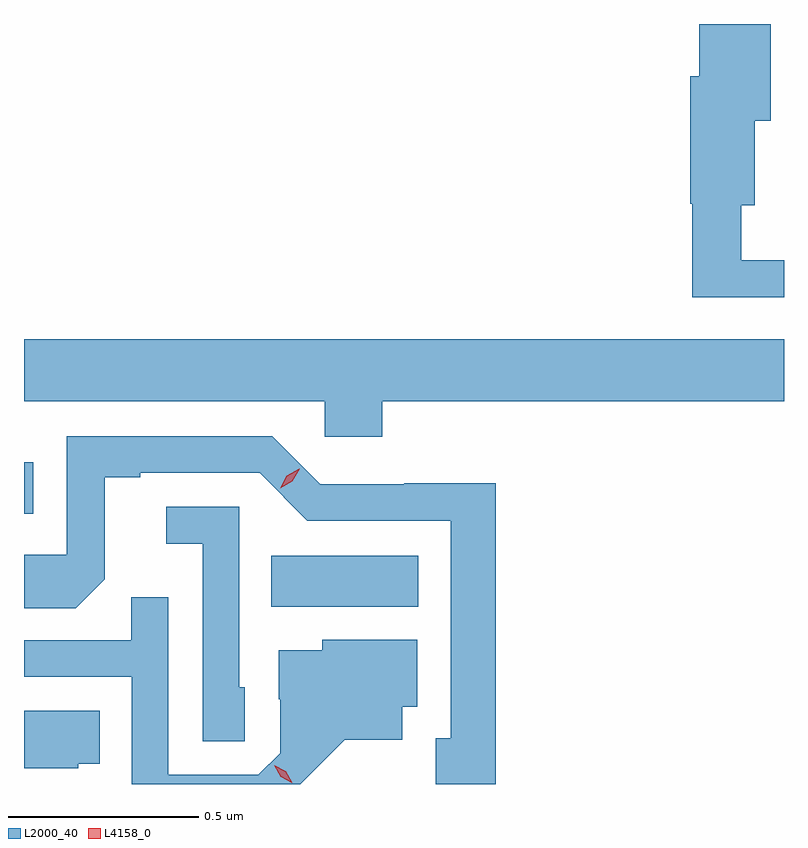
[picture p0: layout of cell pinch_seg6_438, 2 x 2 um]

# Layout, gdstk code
import gdstk
lib = gdstk.Library(unit=1e-6, precision=1e-09)
def R(c, l, rs):  # rectangles x0, y0, x1, y1
    for r in rs: c.add(gdstk.rectangle(r[:2], r[2:], *l))
def P(c, l, *ps):  # polygons
    for p in ps: c.add(gdstk.Polygon(p, *l))
L2000_40 = (2000, 40)
L4158_0 = (4158, 0)

pinch_seg6_438 = lib.new_cell('pinch_seg6_438')
R(pinch_seg6_438, L2000_40, [(700.804,933.476,701.191,933.61), (700.153,933.72,700.177,933.856)])
P(pinch_seg6_438, L2000_40, [(702.153,934.387),(702.04,934.387),(702.04,934.532),(702.076,934.532),(702.076,934.754),(702.118,934.754),(702.118,935.009),(701.93,935.009),(701.93,934.872),(701.906,934.872),(701.906,934.536),(701.911,934.536),(701.911,934.29),(702.153,934.29)],
  [(701.096,934.016),(702.153,934.016),(702.153,934.18),(700.153,934.18),(700.153,934.016),(700.944,934.016),(700.944,933.923),(701.096,933.923)],
  [(701.395,933.8),(701.154,933.8),(701.154,933.798),(700.932,933.798),(700.806,933.924),(700.266,933.924),(700.266,933.612),(700.153,933.612),(700.153,933.472),(700.289,933.472),(700.365,933.548),(700.365,933.816),(700.459,933.816),(700.459,933.828),(700.773,933.828),(700.899,933.702),(701.276,933.702),(701.276,933.129),(701.237,933.129),(701.237,933.009),(701.395,933.009)],
  [(700.734,933.264),(700.719,933.264),(700.719,933.738),(700.527,933.738),(700.527,933.641),(700.623,933.641),(700.623,933.121),(700.734,933.121)],
  [(700.894,933.023),(700.997,933.125),(701.149,933.125),(701.149,933.212),(701.188,933.212),(701.188,933.388),(700.938,933.388),(700.938,933.361),(700.823,933.361),(700.823,933.232),(700.827,933.232),(700.827,933.09),(700.77,933.033),(700.533,933.033),(700.533,933.5),(700.435,933.5),(700.435,933.387),(700.153,933.387),(700.153,933.291),(700.437,933.291),(700.437,933.009),(700.88,933.009)],
  [(700.296,933.062),(700.352,933.062),(700.352,933.202),(700.153,933.202),(700.153,933.05),(700.296,933.05)])
P(pinch_seg6_438, L4158_0, [(700.827,933.787),(700.827,933.787),(700.845,933.82),(700.877,933.838),(700.878,933.838),(700.878,933.838),(700.859,933.806),(700.827,933.787)],
  [(700.858,933.012),(700.828,933.028),(700.812,933.058),(700.812,933.058),(700.812,933.058),(700.842,933.042),(700.859,933.012),(700.859,933.012)])

lib.write_gds('pinch_seg6_438.gds')
